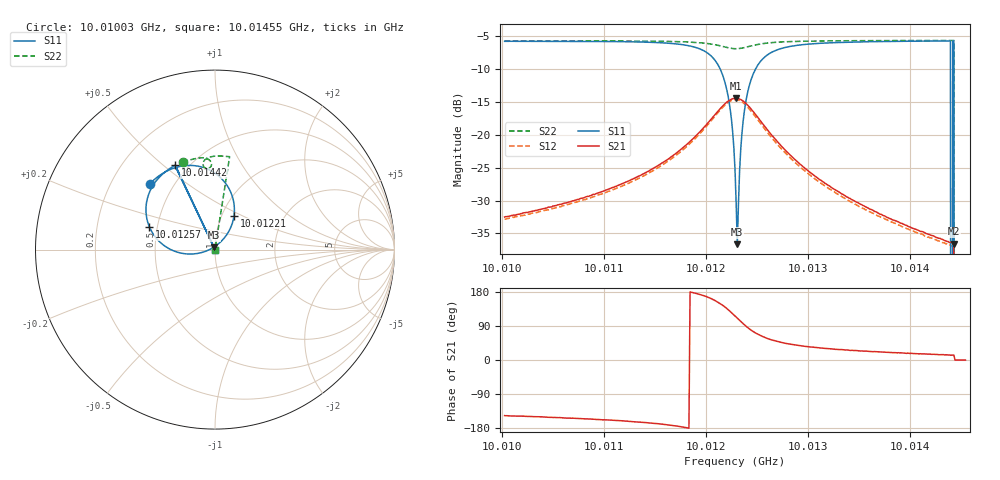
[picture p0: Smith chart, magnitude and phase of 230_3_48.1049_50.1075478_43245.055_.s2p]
#  HZ  S  RI  R  50.00
! Rohde & Schwarz Vector Network Analyzer
! Rohde-Schwarz,ZNB20-2Port,1311601062101988,3.16
! Created: UTC 12/23/2023, 3:57:40 AM
! freq[Hz]  re:S11  im:S11  re:S21  im:S21  re:S12  im:S12  re:S22  im:S22
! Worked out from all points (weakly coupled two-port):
!   401 points, 10.01003 GHz to 10.01455 GHz, reference 50 ohm
!   highest |S21| = -14.42 dB at 10.0123 GHz (marker M1); lowest = -36.6 dB at 10.01443 GHz (marker M2)
!   lowest |S11| = -36.6 dB at 10.01231 GHz (marker M3), VSWR 1.03, Z = 49.2 + j1.23 ohm
!   |S11| at or under -10 dB: 10.01214 GHz to 10.01249 GHz (344.7 kHz wide, 0.00344 % of centre); 10.0144 GHz to 10.01442 GHz (22.08 kHz wide, 0.000221 % of centre); 10.01443 GHz to end of sweep
!   |S22| runs from - to -5.6 dB; largest |S21 - S12| = 0.0095
!   S11 on the Smith chart (normalised r, x): 10.01003 GHz: 0.37, +0.37; 10.01221 GHz: 1.14, +0.45; 10.01257 GHz: 0.45, +0.13; 10.01442 GHz: 0.43, +0.55; 10.01455 GHz: 1.00, +0.00
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1.001003e10  -0.3645 0.3656  -0.0198 -0.013  -0.0184 -0.0135  -0.1802 0.4866
1.0010787e10  -0.3086 0.4131  -0.0298 -0.014  -0.028 -0.0148  -0.1313 0.5022
1.0011543e10  -0.2013 0.4623  -0.0577 -0.0119  -0.055 -0.0143  -0.0752 0.5112
1.0012018e10  0.00646 0.4212  -0.1186 0.0288  -0.1164 0.0218  -0.0279 0.4961
1.001221e10  0.1061 0.19  -0.1272 0.1243  -0.1295 0.1164  -0.0229 0.4627
1.0012255e10  0.0779 0.1032  -0.1066 0.1536  -0.1109 0.1456  -0.0303 0.455
1.0012289e10  0.0325 0.0439  -0.0834 0.1708  -0.0882 0.1635  -0.0383 0.4517
1.00123e10  0.0132 0.0273  -0.0744 0.175  -0.0794 0.1677  -0.0413 0.4513
1.0012311e10  -0.00775 0.0125  -0.0652 0.1783  -0.07 0.1714  -0.0442 0.4513
1.0012368e10  -0.1231 -0.0244  -0.0193 0.1804  -0.024 0.1743  -0.0574 0.4563
1.0012402e10  -0.1905 -0.0193  0.00571 0.1719  0.000354 0.1662  -0.0628 0.4625
1.0012571e10  -0.3651 0.1255  0.058 0.1034  0.052 0.1007  -0.0622 0.493
1.0013045e10  -0.3519 0.3468  0.0418 0.0283  0.0383 0.0287  -0.0184 0.518
1.0013802e10  -0.2731 0.4366  0.0217 0.00786  0.0204 0.00874  0.0386 0.5214
1.0014378e10  -0.2254 0.4678  0.015 0.00352  0.014 0.00421  0.0776 0.5182
1.0014389e10  -0.2245 0.4685  0.0147 0.00352  0.014 0.00414  0.0783 0.518
1.0014412e10  0 0  0.0148 0.00335  0.0137 0.00396  0.08 0.5177
1.0014423e10  -0.222 0.4699  0.0146 0.00335  0.0137 0.00396  0.0807 0.5177
1.0014434e10  -0.221 0.4703  0.0144 0.00329  0.0136 0.00399  0.0814 0.5176
1.0014446e10  0 0  0 0  0 0  0 0
1.0014468e10  0 0  0 0  0 0  0 0
1.0014547e10  0 0  0 0  0 0  0 0
